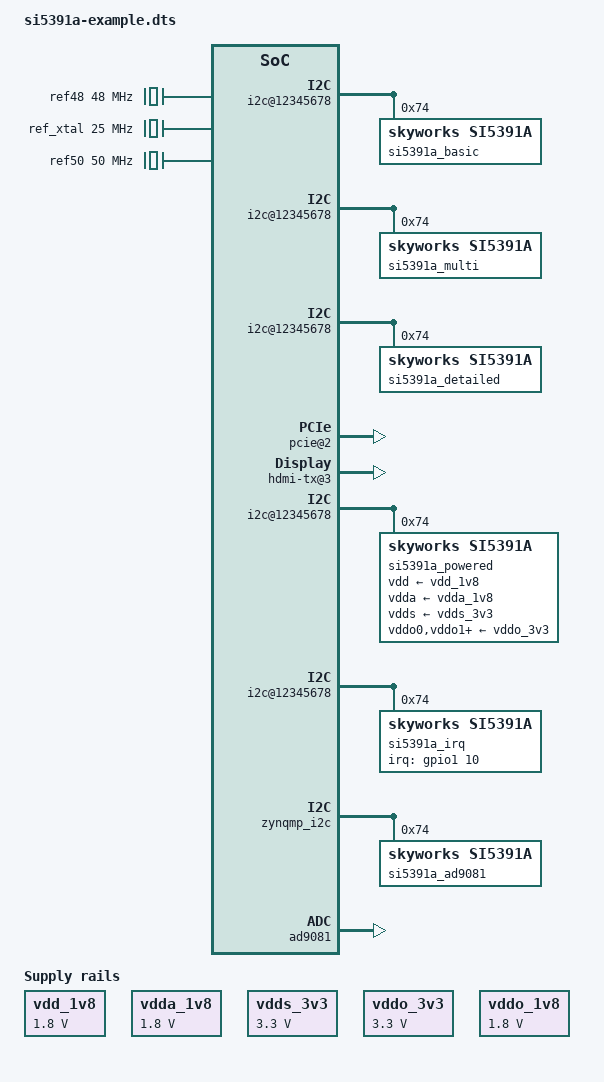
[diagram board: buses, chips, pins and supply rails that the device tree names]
/*
 * Device Tree Example for Skyworks Si5391A Clock Generator
 *
 * This file provides various examples of how to configure and use
 * the Si5391A clock generator in a device tree.
 */

/dts-v1/;

/ {
	/* Example 1: Basic configuration with crystal input */
	example1 {
		/* Define a 48MHz reference crystal */
		ref48: ref48M {
			compatible = "fixed-clock";
			#clock-cells = <0>;
			clock-frequency = <48000000>;
		};

		i2c@12345678 {
			#address-cells = <1>;
			#size-cells = <0>;

			si5391a_basic: clock-generator@74 {
				compatible = "skyworks,si5391a";
				reg = <0x74>;
				#clock-cells = <1>;

				/* Use 48MHz crystal as input */
				clocks = <&ref48>;
				clock-names = "xtal";

				/* Configure PLL for 14GHz VCO */
				/* VCO = 48MHz * (14000/48) = 14GHz */
				skyworks,pll-m-num = <14000>;
				skyworks,pll-m-den = <48>;
			};
		};
	};

	/* Example 2: Multiple input clocks configuration */
	example2 {
		/* External reference clocks */
		clk_in0: clock-in0 {
			compatible = "fixed-clock";
			#clock-cells = <0>;
			clock-frequency = <100000000>; /* 100MHz */
		};

		clk_in1: clock-in1 {
			compatible = "fixed-clock";
			#clock-cells = <0>;
			clock-frequency = <125000000>; /* 125MHz */
		};

		ref_xtal: crystal {
			compatible = "fixed-clock";
			#clock-cells = <0>;
			clock-frequency = <25000000>; /* 25MHz */
		};

		i2c@12345678 {
			#address-cells = <1>;
			#size-cells = <0>;

			si5391a_multi: clock-generator@74 {
				compatible = "skyworks,si5391a";
				reg = <0x74>;
				#clock-cells = <1>;

				/* Multiple input sources */
				clocks = <&clk_in0>, <&clk_in1>, <&ref_xtal>;
				clock-names = "in0", "in1", "xtal";

				/* Use external clock on XA/XB pins */
				skyworks,xaxb-ext-clk;
			};
		};
	};

	/* Example 3: Detailed output configuration */
	example3 {
		ref50: ref50M {
			compatible = "fixed-clock";
			#clock-cells = <0>;
			clock-frequency = <50000000>;
		};

		i2c@12345678 {
			#address-cells = <1>;
			#size-cells = <0>;

			si5391a_detailed: clock-generator@74 {
				compatible = "skyworks,si5391a";
				reg = <0x74>;
				#clock-cells = <1>;
				#address-cells = <1>;
				#size-cells = <0>;

				clocks = <&ref50>;
				clock-names = "xtal";

				skyworks,pll-m-num = <14000>;
				skyworks,pll-m-den = <50>;
				skyworks,iovdd-33; /* 3.3V I2C logic */

				/* OUT0: 156.25MHz LVPECL */
				out@0 {
					reg = <0>;
					skyworks,format = <1>;      /* Differential */
					skyworks,common-mode = <5>; /* LVPECL levels */
					skyworks,amplitude = <7>;
					always-on;
				};

				/* OUT1: 125MHz LVDS */
				out@1 {
					reg = <1>;
					skyworks,format = <1>;      /* Differential */
					skyworks,common-mode = <3>; /* LVDS levels */
					skyworks,amplitude = <3>;
				};

				/* OUT2: 25MHz LVCMOS */
				out@2 {
					reg = <2>;
					skyworks,format = <4>;      /* LVCMOS */
					skyworks,amplitude = <15>;  /* 3.3V swing */
				};

				/* OUT3: 100MHz HCSL */
				out@3 {
					reg = <3>;
					skyworks,format = <2>;      /* Low-power */
					skyworks,common-mode = <11>; /* HCSL levels */
					skyworks,amplitude = <3>;
				};

				/* OUT8: 200MHz LVDS for FMC+ */
				out@8 {
					reg = <8>;
					skyworks,format = <1>;
					skyworks,common-mode = <3>;
					skyworks,amplitude = <3>;
					always-on;
				};

				/* OUT9: 100MHz LVDS for FMC+ */
				out@9 {
					reg = <9>;
					skyworks,format = <1>;
					skyworks,common-mode = <3>;
					skyworks,amplitude = <3>;
					always-on;
				};
			};
		};
	};

	/* Example 4: Consumer devices using Si5391A clocks */
	example4 {
		/* Ethernet PHY using 125MHz clock */
		ethernet-phy@0 {
			compatible = "ethernet-phy";
			reg = <0>;
			clocks = <&si5391a_detailed 1>;
			clock-names = "refclk";
			assigned-clocks = <&si5391a_detailed 1>;
			assigned-clock-rates = <125000000>;
		};

		/* FPGA using 200MHz and 100MHz clocks */
		fpga@1 {
			compatible = "fpga-device";
			reg = <1>;
			clocks = <&si5391a_detailed 8>, <&si5391a_detailed 9>;
			clock-names = "clk_200", "clk_100";
			assigned-clocks = <&si5391a_detailed 8>,
					  <&si5391a_detailed 9>;
			assigned-clock-rates = <200000000>, <100000000>;
		};

		/* PCIe controller using 100MHz reference */
		pcie@2 {
			compatible = "pcie-controller";
			reg = <2>;
			clocks = <&si5391a_detailed 3>;
			clock-names = "pcie_refclk";
			assigned-clocks = <&si5391a_detailed 3>;
			assigned-clock-rates = <100000000>;
		};

		/* Video transmitter using 148.5MHz pixel clock */
		hdmi-tx@3 {
			compatible = "hdmi-transmitter";
			reg = <3>;
			clocks = <&si5391a_detailed 0>;
			clock-names = "pixel_clk";
			assigned-clocks = <&si5391a_detailed 0>;
			assigned-clock-rates = <148500000>;
		};
	};

	/* Example 5: Power supply configuration */
	example5 {
		/* Voltage regulators */
		vdd_1v8: regulator-1v8 {
			compatible = "regulator-fixed";
			regulator-name = "VDD_1V8";
			regulator-min-microvolt = <1800000>;
			regulator-max-microvolt = <1800000>;
		};

		vdda_1v8: regulator-1v8a {
			compatible = "regulator-fixed";
			regulator-name = "VDDA_1V8";
			regulator-min-microvolt = <1800000>;
			regulator-max-microvolt = <1800000>;
		};

		vdds_3v3: regulator-3v3 {
			compatible = "regulator-fixed";
			regulator-name = "VDDS_3V3";
			regulator-min-microvolt = <3300000>;
			regulator-max-microvolt = <3300000>;
		};

		vddo_3v3: regulator-3v3-out {
			compatible = "regulator-fixed";
			regulator-name = "VDDO_3V3";
			regulator-min-microvolt = <3300000>;
			regulator-max-microvolt = <3300000>;
		};

		vddo_1v8: regulator-1v8-out {
			compatible = "regulator-fixed";
			regulator-name = "VDDO_1V8";
			regulator-min-microvolt = <1800000>;
			regulator-max-microvolt = <1800000>;
		};

		i2c@12345678 {
			#address-cells = <1>;
			#size-cells = <0>;

			si5391a_powered: clock-generator@74 {
				compatible = "skyworks,si5391a";
				reg = <0x74>;
				#clock-cells = <1>;

				/* Power supplies */
				vdd-supply = <&vdd_1v8>;
				vdda-supply = <&vdda_1v8>;
				vdds-supply = <&vdds_3v3>;

				/* Individual output supplies */
				vddo0-supply = <&vddo_3v3>;
				vddo1-supply = <&vddo_3v3>;
				vddo2-supply = <&vddo_3v3>;
				vddo3-supply = <&vddo_1v8>;
				vddo4-supply = <&vddo_1v8>;
				vddo5-supply = <&vddo_1v8>;
				vddo6-supply = <&vddo_3v3>;
				vddo7-supply = <&vddo_3v3>;
				vddo8-supply = <&vddo_3v3>;
				vddo9-supply = <&vddo_3v3>;

				clocks = <&ref50>;
				clock-names = "xtal";

				skyworks,pll-m-num = <14000>;
				skyworks,pll-m-den = <50>;
			};
		};
	};

	/* Example 6: Interrupt configuration */
	example6 {
		interrupt-controller@0 {
			compatible = "interrupt-controller";
			#interrupt-cells = <2>;
			interrupt-controller;

			i2c@12345678 {
				#address-cells = <1>;
				#size-cells = <0>;

				si5391a_irq: clock-generator@74 {
					compatible = "skyworks,si5391a";
					reg = <0x74>;
					#clock-cells = <1>;

					clocks = <&ref48>;
					clock-names = "xtal";

					/* Interrupt on loss of lock */
					interrupt-parent = <&gpio1>;
					interrupts = <10 IRQ_TYPE_LEVEL_LOW>;

					skyworks,pll-m-num = <14000>;
					skyworks,pll-m-den = <48>;
				};
			};
		};
	};

	/* Example 7: Xilinx Zynq UltraScale+ with AD9081 */
	example7_zynqmp {
		/* This example shows Si5391A configuration for
		 * Zynq UltraScale+ with AD9081 on FMC+
		 */
		zynqmp_i2c: i2c@ff030000 {
			compatible = "cdns,i2c-r1p14";
			reg = <0xff030000 0x1000>;
			#address-cells = <1>;
			#size-cells = <0>;

			si5391a_ad9081: clock-generator@74 {
				compatible = "skyworks,si5391a";
				reg = <0x74>;
				#clock-cells = <1>;
				#address-cells = <1>;
				#size-cells = <0>;

				/* 100MHz reference from PS */
				clocks = <&clk100>;
				clock-names = "xtal";

				skyworks,pll-m-num = <14000>;
				skyworks,pll-m-den = <100>;
				skyworks,iovdd-33;

				/* OUT8: 200MHz for AD9081 device clock */
				out@8 {
					reg = <8>;
					skyworks,format = <1>;  /* LVDS */
					skyworks,common-mode = <3>;
					skyworks,amplitude = <3>;
					always-on;
				};

				/* OUT9: 100MHz for AD9081 SYSREF */
				out@9 {
					reg = <9>;
					skyworks,format = <1>;  /* LVDS */
					skyworks,common-mode = <3>;
					skyworks,amplitude = <3>;
					always-on;
				};
			};
		};

		/* AD9081 using Si5391A clocks */
		ad9081: adc@0 {
			compatible = "adi,ad9081";
			reg = <0>;
			clocks = <&si5391a_ad9081 8>, <&si5391a_ad9081 9>;
			clock-names = "dev_clk", "sysref_clk";
			assigned-clocks = <&si5391a_ad9081 8>,
					  <&si5391a_ad9081 9>;
			assigned-clock-rates = <200000000>,
					       <100000000>;
		};
	};
};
